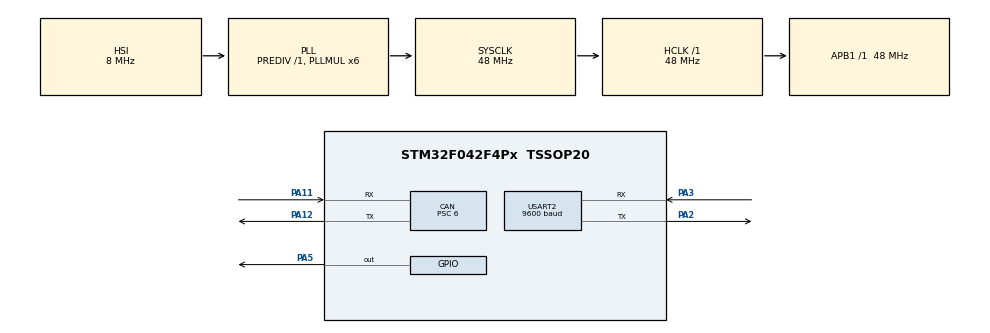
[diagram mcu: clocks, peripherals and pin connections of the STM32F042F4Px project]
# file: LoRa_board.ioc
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CAN.BS1=CAN_BS1_13TQ
CAN.BS2=CAN_BS2_2TQ
CAN.CalculateBaudRate=500000
CAN.CalculateTimeBit=2000
CAN.CalculateTimeQuantum=125.0
CAN.NART=DISABLE
CAN.Prescaler=6
Mcu.Family=STM32F0
Mcu.Name=STM32F042F4Px
Mcu.Package=TSSOP20
NVIC.USART2_IRQn=true\:0\:0\:false\:false\:true\:true\:true\:true
PA11.Mode=CAN_Activate
PA11.Signal=CAN_RX
PA12.Mode=CAN_Activate
PA12.Signal=CAN_TX
PA2.Mode=Asynchronous
PA2.Signal=USART2_TX
PA3.Mode=Asynchronous
PA3.Signal=USART2_RX
PA5.Signal=GPIO_Output
PF0-OSC_IN.Mode=HSE-External-Oscillator
PF0-OSC_IN.Signal=RCC_OSC_IN
PF1-OSC_OUT.Mode=HSE-External-Oscillator
PF1-OSC_OUT.Signal=RCC_OSC_OUT
ProjectManager.HeapSize=0x200
ProjectManager.StackSize=0x400
ProjectManager.TargetToolchain=STM32CubeIDE
RCC.AHBFreq_Value=48000000
RCC.APB1Freq_Value=48000000
RCC.APB1TimFreq_Value=48000000
RCC.HCLKFreq_Value=48000000
RCC.PLLMUL=RCC_PLL_MUL6
RCC.SYSCLKFreq_VALUE=48000000
RCC.SYSCLKSource=RCC_SYSCLKSOURCE_PLLCLK
USART2.BaudRate=9600
USART2.VirtualMode-Asynchronous=VM_ASYNC
VP_SYS_VS_PINREMAP.Mode=PINREMAP
board=custom

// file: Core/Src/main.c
/* USER CODE BEGIN Header */
/**
  ******************************************************************************
  * @file           : main.c
  * @brief          : Main program body
  ******************************************************************************
  * @attention
  *
  * Copyright (c) 2025 STMicroelectronics.
  * All rights reserved.
  *
  * This software is licensed under terms that can be found in the LICENSE file
  * in the root directory of this software component.
  * If no LICENSE file comes with this software, it is provided AS-IS.
  *
  ******************************************************************************
  */
/* USER CODE END Header */
#include "main.h"

/* USER CODE BEGIN Includes */
#include "string.h" // Required for memset()
/* USER CODE END Includes */

/* USER CODE BEGIN PD */
#define RX_BUFFER_SIZE 128
/* USER CODE END PD */

CAN_HandleTypeDef hcan;

UART_HandleTypeDef huart2;

/* USER CODE BEGIN PV */

// --- UART Interrupt Variables ---
uint8_t FinalData[20];   // max amount of rx data before processing
uint8_t RxData[20];      // storing rx data
uint8_t temp[100];
volatile int indx = 0;            // counting bytes
volatile int message_received_flag = 0;    // marks message completion
int MAX_MESSAGE_LENGTH = 20;

// --- CAN Interrupt Variables --
volatile int CAN_received = 0;   // marks when to send CAN via UART
uint8_t CAN_rx_data[8];   // Global buffer for received CAN data
uint8_t CAN_rx_len = 8;
CAN_TxHeaderTypeDef pHeader; //declare a specific header for message transmittions
CAN_RxHeaderTypeDef pRxHeader; //declare header for message reception
CAN_FilterTypeDef sFilterConfig; //declare CAN filter structure

void send_at_command(const uint8_t* hex_cmd, uint16_t len);
void send_command_and_wait(const uint8_t* cmd, uint16_t len);

void toggle_LED() {
	HAL_GPIO_TogglePin(GPIOA, GPIO_PIN_5);
	HAL_Delay(100);
	HAL_GPIO_TogglePin(GPIOA, GPIO_PIN_5);
}

void AT_Config(void) {
	 // AT configuration

	  HAL_UART_Receive_IT(&huart2, temp, 1);   // interrupt initialization

	  // +++ to AT mode
	  uint8_t cmd_enter_config[] = {0x2B, 0x2B, 0x2B, 0x0d, 0x0a};

	  // AT+MODE0\r\n
	  uint8_t cmd_mode1[] = {0x41, 0x54, 0x2B, 0x4D, 0x4F, 0x44, 0x45, 0x31, 0x0D, 0x0A};

	  // AT+LEVEL7\r\n
	  uint8_t cmd_level7[] = {0x41, 0x54, 0x2B, 0x4C, 0x45, 0x56, 0x45, 0x4C, 0x37, 0x0D, 0x0A};

	  // AT+CHANNEL03\r\n
	  uint8_t cmd_channel03[] = {0x41, 0x54, 0x2B, 0x43, 0x48, 0x41, 0x4E, 0x4E, 0x45, 0x4C, 0x30, 0x33, 0x0D, 0x0A};

	  // AT+MAC0a,02\r\n
	  uint8_t cmd_mac0a02[] = {0x41, 0x54, 0x2B, 0x4D, 0x41, 0x43, 0x30, 0x61, 0x2C, 0x30, 0x32, 0x0D, 0x0A};
	  uint8_t cmd_sf12[] = {0x41, 0x54, 0x2B, 0x53, 0x46, 0x31, 0x32, 0x0D, 0x0A};

	  // AT+POWE22\r\n
	  uint8_t cmd_powe22[] = {0x41, 0x54, 0x2B, 0x50, 0x4F, 0x57, 0x45, 0x32, 0x32, 0x0D, 0x0A};

	    // AT+RESET\r\n
	    uint8_t cmd_reset[] = {0x41, 0x54, 0x2B, 0x52, 0x45, 0x53, 0x45, 0x54, 0x0D, 0x0A};

		// should receive "Entry AT\r\n" or something
		// HAL_Delay(6000); // A small delay is often good practice after commands
	  send_command_and_wait(cmd_enter_config, sizeof(cmd_enter_config));
		// Set transmission mode
	  send_command_and_wait(cmd_mode1, sizeof(cmd_mode1));
		// HAL_Delay(6000);
	  // Set air data rate level
	  send_command_and_wait(cmd_level7, sizeof(cmd_level7));
	  // Set frequency channel
	  send_command_and_wait(cmd_channel03, sizeof(cmd_channel03));
	  // Set device address
	  send_command_and_wait(cmd_mac0a02, sizeof(cmd_mac0a02));
	  // Set TX power
	  send_command_and_wait(cmd_powe22, sizeof(cmd_powe22));
	  //send SF
	  send_command_and_wait(cmd_sf12, sizeof(cmd_sf12));
	  // check AT for OK
	  // Reset the module to apply settings
	  send_command_and_wait(cmd_reset, sizeof(cmd_reset));
	  send_command_and_wait(cmd_enter_config, sizeof(cmd_enter_config));
	  send_command_and_wait(cmd_enter_config, sizeof(cmd_enter_config));

}

void CAN_Config(void) {
	// CAN Initialization

	  uint8_t bigData[20] = { /* ... */ };
	  uint8_t chunk[8];

	  CAN_TxHeaderTypeDef txHeader;
		  // uint8_t txData[20];
		  uint32_t txMailbox;

		  txHeader.StdId = 0x123;
		  txHeader.RTR = CAN_RTR_DATA;
		  txHeader.IDE = CAN_ID_STD;
		  txHeader.DLC = 2;			// sending 16
		  txHeader.TransmitGlobalTime = DISABLE;

		// https://github.com/timsonater/stm32-CAN-bus-example-HAL-API/blob/master/main.c

		pHeader.DLC=1; //give message size of 1 byte
		pHeader.IDE=CAN_ID_STD; //set identifier to standard
		pHeader.RTR=CAN_RTR_DATA; //set data type to remote transmission request?
		pHeader.StdId=0x244; //define a standard identifier, used for message identification by filters (switch this for the other microcontroller)

		//filter one (stack light blink)
		sFilterConfig.FilterFIFOAssignment=CAN_FILTER_FIFO0; //set fifo assignment
		sFilterConfig.FilterIdHigh=0x245<<5; //the ID that the filter looks for (switch this for the other microcontroller)
		sFilterConfig.FilterIdLow=0;
		sFilterConfig.FilterMaskIdHigh=0;
		sFilterConfig.FilterMaskIdLow=0;
		sFilterConfig.FilterScale=CAN_FILTERSCALE_32BIT; //set filter scale
		sFilterConfig.FilterActivation=ENABLE;

		HAL_CAN_ConfigFilter(&hcan, &sFilterConfig); //configure CAN filter

	  if (HAL_CAN_Start(&hcan) != HAL_OK)
	  {
	    Error_Handler();
	  }
	  HAL_CAN_ActivateNotification(&hcan, CAN_IT_RX_FIFO0_MSG_PENDING); //enable interrupts

}

void HAL_UART_RxCpltCallback(UART_HandleTypeDef *huart)
{

		uint8_t received_byte = temp[0];

		// if ends with \n, then message complete
		if (received_byte == 0x0a) {
			message_received_flag = 1;
		}
		// if not complete message or not max length, store it
		if (indx < (MAX_MESSAGE_LENGTH - 1) && message_received_flag == 0) { // Leave 1 byte for null terminator
			RxData[indx] = received_byte;
			indx++;
		}
		else if (indx >= (MAX_MESSAGE_LENGTH - 1)) {
			// Buffer overflow occurred before newline, treat as error/reset
			indx = 0;
		}

		// Restart the interrupt
		HAL_UART_Receive_IT(&huart2, temp, 1);

}

// Called automatically when a new frame lands in FIFO0
void HAL_CAN_RxFifo0MsgPendingCallback(CAN_HandleTypeDef *hcan) {
	CAN_RxHeaderTypeDef rxHeader;

	if (HAL_CAN_GetRxMessage(hcan, CAN_RX_FIFO0, &rxHeader, CAN_rx_data) != HAL_OK) {
		Error_Handler(); // error handling
	}

	// Example: check ID, length, print/process
	if (rxHeader.IDE == CAN_ID_STD) {
		CAN_rx_len = rxHeader.DLC;
		CAN_received = 1;
	}

	else {
		uint32_t id = rxHeader.ExtId;     // 29-bit
		// TODO: handle extended ID
	}

}

/* USER CODE END PV */

void SystemClock_Config(void);
static void MX_GPIO_Init(void);
static void MX_CAN_Init(void);
static void MX_USART2_UART_Init(void);

int main(void)
{

  /* MCU Configuration--------------------------------------------------------*/

  /* Reset of all peripherals, Initializes the Flash interface and the Systick. */
  HAL_Init();

  /* Configure the system clock */
  SystemClock_Config();

  /* Initialize all configured peripherals */
  MX_GPIO_Init();
  MX_CAN_Init();
  MX_USART2_UART_Init();
  /* USER CODE BEGIN 2 */

  AT_Config();

  // --- START THE FIRST UART RECEPTION WITH INTERRUPT ---
  // This tells the UART hardware to start listening for the very first byte.
  // The interrupt callback will handle receiving all subsequent bytes.
  //HAL_UART_Receive_IT(&huart2, &rx_char, 1);
  //uint8_t rx_buffer_main[RX_BUFFER_SIZE];

  /* USER CODE END 2 */

  /* Infinite loop */
  while (1)
  {

    /* USER CODE BEGIN 3 */

	  	if (message_received_flag)
	  	{
	  		// indx holds the number of bytes received (up to, but not including, the '\n')
	  		memcpy(FinalData, RxData, indx);

	  		// Toggle the LED to signal received
	  		//toggle_LED();

	  		// clear the flag and reset index
	  		message_received_flag = 0;
	  		indx = 0;
	  	}

	// 1. Transmit the UART message.
	// address 0a01, channel 3, "selena"
	uint8_t lora_message[] = {0x0A, 0x01, 0x03, 0x73, 0x65, 0x6C, 0x65, 0x6E, 0x61, 0x0D, 0x0A};
	send_at_command(lora_message, sizeof(lora_message));
	HAL_Delay(500);
	HAL_GPIO_TogglePin(GPIOA, GPIO_PIN_5);
	message_received_flag = 0;
	indx = 0;

  }
  /* USER CODE END 3 */
}

void SystemClock_Config(void)
{
  RCC_OscInitTypeDef RCC_OscInitStruct = {0};
  RCC_ClkInitTypeDef RCC_ClkInitStruct = {0};

  /** Initializes the RCC Oscillators according to the specified parameters
  * in the RCC_OscInitTypeDef structure.
  */
  RCC_OscInitStruct.OscillatorType = RCC_OSCILLATORTYPE_HSI;
  RCC_OscInitStruct.HSIState = RCC_HSI_ON;
  RCC_OscInitStruct.HSICalibrationValue = RCC_HSICALIBRATION_DEFAULT;
  RCC_OscInitStruct.PLL.PLLState = RCC_PLL_ON;
  RCC_OscInitStruct.PLL.PLLSource = RCC_PLLSOURCE_HSI;
  RCC_OscInitStruct.PLL.PLLMUL = RCC_PLL_MUL6;
  RCC_OscInitStruct.PLL.PREDIV = RCC_PREDIV_DIV1;
  if (HAL_RCC_OscConfig(&RCC_OscInitStruct) != HAL_OK)
  {
    Error_Handler();
  }

  /** Initializes the CPU, AHB and APB buses clocks
  */
  RCC_ClkInitStruct.ClockType = RCC_CLOCKTYPE_HCLK|RCC_CLOCKTYPE_SYSCLK
                              |RCC_CLOCKTYPE_PCLK1;
  RCC_ClkInitStruct.SYSCLKSource = RCC_SYSCLKSOURCE_PLLCLK;
  RCC_ClkInitStruct.AHBCLKDivider = RCC_SYSCLK_DIV1;
  RCC_ClkInitStruct.APB1CLKDivider = RCC_HCLK_DIV1;

  if (HAL_RCC_ClockConfig(&RCC_ClkInitStruct, FLASH_LATENCY_1) != HAL_OK)
  {
    Error_Handler();
  }
}

static void MX_CAN_Init(void)
{

  hcan.Instance = CAN;
  hcan.Init.Prescaler = 6;
  hcan.Init.Mode = CAN_MODE_NORMAL;
  hcan.Init.SyncJumpWidth = CAN_SJW_1TQ;
  hcan.Init.TimeSeg1 = CAN_BS1_13TQ;
  hcan.Init.TimeSeg2 = CAN_BS2_2TQ;
  hcan.Init.TimeTriggeredMode = DISABLE;
  hcan.Init.AutoBusOff = DISABLE;
  hcan.Init.AutoWakeUp = DISABLE;
  hcan.Init.AutoRetransmission = DISABLE;
  hcan.Init.ReceiveFifoLocked = DISABLE;
  hcan.Init.TransmitFifoPriority = DISABLE;
  if (HAL_CAN_Init(&hcan) != HAL_OK)
  {
    Error_Handler();
  }

}

static void MX_USART2_UART_Init(void)
{

  huart2.Instance = USART2;
  huart2.Init.BaudRate = 9600;
  huart2.Init.WordLength = UART_WORDLENGTH_8B;
  huart2.Init.StopBits = UART_STOPBITS_1;
  huart2.Init.Parity = UART_PARITY_NONE;
  huart2.Init.Mode = UART_MODE_TX_RX;
  huart2.Init.HwFlowCtl = UART_HWCONTROL_NONE;
  huart2.Init.OverSampling = UART_OVERSAMPLING_16;
  huart2.Init.OneBitSampling = UART_ONE_BIT_SAMPLE_DISABLE;
  huart2.AdvancedInit.AdvFeatureInit = UART_ADVFEATURE_NO_INIT;
  if (HAL_UART_Init(&huart2) != HAL_OK)
  {
    Error_Handler();
  }

}

static void MX_GPIO_Init(void)
{
  GPIO_InitTypeDef GPIO_InitStruct = {0};

  /* GPIO Ports Clock Enable */
  __HAL_RCC_GPIOF_CLK_ENABLE();
  __HAL_RCC_GPIOA_CLK_ENABLE();

  /*Configure GPIO pin Output Level */
  HAL_GPIO_WritePin(GPIOA, GPIO_PIN_5, GPIO_PIN_RESET);

  /*Configure GPIO pin : PA5 */
  GPIO_InitStruct.Pin = GPIO_PIN_5;
  GPIO_InitStruct.Mode = GPIO_MODE_OUTPUT_PP;
  GPIO_InitStruct.Pull = GPIO_NOPULL;
  GPIO_InitStruct.Speed = GPIO_SPEED_FREQ_LOW;
  HAL_GPIO_Init(GPIOA, &GPIO_InitStruct);

}

/* USER CODE BEGIN 4 */
/**
  * @brief  Reception Complete Callback.
  * This function is automatically called by the HAL driver every time
  * a single byte is received via interrupt.
  * @param  huart: UART handle
  * @retval None
  */

void send_at_command(const uint8_t* hex_cmd, uint16_t len) {
    // Buffer to hold the command plus the required "\r\n"
	HAL_UART_Transmit(&huart2, (uint8_t*)hex_cmd, len, 100);
}

void send_command_and_wait(const uint8_t* cmd, uint16_t len) {
	HAL_UART_Transmit(&huart2, (uint8_t*)cmd, len, 100);
    while (message_received_flag == 0) {}
    message_received_flag = 0;
    indx = 0;
}

/* USER CODE END 4 */

void Error_Handler(void)
{
  __disable_irq();
  while (1)
  {
  }
}
